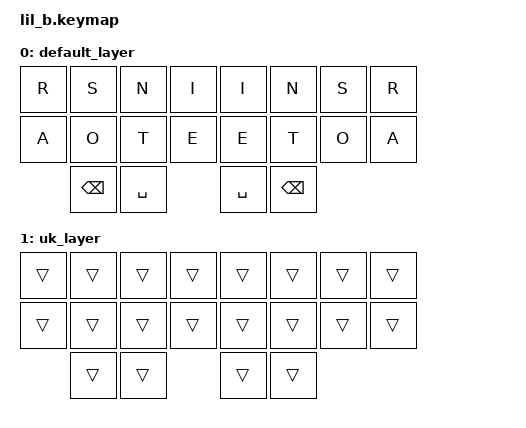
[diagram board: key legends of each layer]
#include <behaviors.dtsi>
#include <dt-bindings/zmk/keys.h>
#include <dt-bindings/zmk/bt.h>
#include <dt-bindings/zmk/outputs.h>

// CONFIG
#define COMBO_TIMEOUT 70
#define STICKY_TIMEOUT 1000

// LAYERS
#define US 0
#define UK 1

//  ________________________________________________
// |   0 |   1 |   2 |   3 ||   4 |   5 |   6 |   7 |
// |   8 |   9 |  10 |  11 ||  12 |  13 |  14 |  15 |
// |     |    16     |  17 ||  18 |     19    |     |
// --------------------------------------------------

// LEFT SIDE
#define TLI  3 // TOP
#define TLM  2 // TOP
#define TLR  1 // TOP
#define TLP  0 // TOP
#define BLI 11 // BOTTOM
#define BLM 10 // BOTTOM
#define BLR  9 // BOTTOM
#define BLP  8 // BOTTOM
#define LOT 17 // O-THUMB
#define LIT 16 // I-THUMB

// RIGHT SIDE
#define TRI  4 // TOP
#define TRM  5 // TOP
#define TRR  6 // TOP
#define TRP  7 // TOP
#define BRI 12 // BOTTOM
#define BRM 13 // BOTTOM
#define BRR 14 // BOTTOM
#define BRP 15 // BOTTOM
#define ROT 18 // O-THUMB
#define RIT 19 // I-THUMB

#include "taipo.dtsi"

/{
    keymap {
        compatible = "zmk,keymap";

        default_layer {
            bindings = <
                &kp R  &kp S  &kp N  &kp I  &kp I  &kp N  &kp S  &kp R
                &kp A  &kp O  &kp T  &kp E  &kp E  &kp T  &kp O  &kp A
                        &kp BSPC &kp SPACE  &kp SPACE &kp BSPC
            >;
        };

        uk_layer {
            bindings = <
                &trans &trans &trans &trans &trans &trans &trans &trans
                &trans &trans &trans &trans &trans &trans &trans &trans
                              &trans &trans &trans &trans
            >;
        };
    };
};
